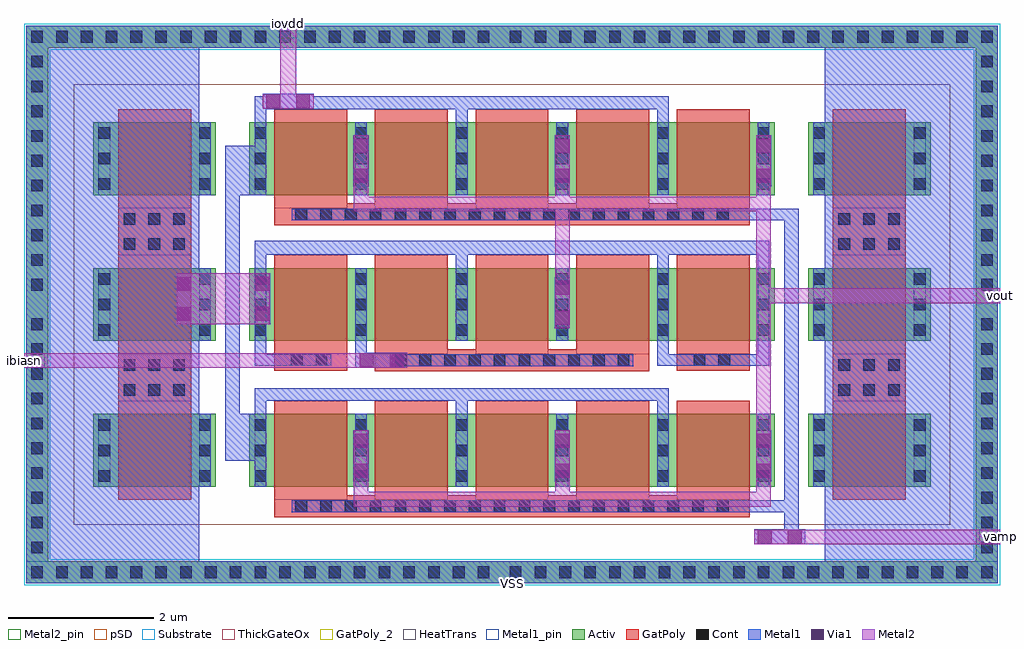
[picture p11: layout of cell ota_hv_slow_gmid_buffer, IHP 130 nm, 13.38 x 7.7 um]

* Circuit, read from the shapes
.subckt ota_hv_slow_gmid_buffer VSS ibiasn iovdd vamp vout
XM1 VSS VSS VSS VSS sg13_hv_nmos w=1u l=1u m=7
XM2 vout vamp iovdd VSS sg13_hv_nmos w=1u l=1u m=10
XM3 ibiasn VSS VSS VSS sg13_hv_nmos w=1u l=1u
XM4 VSS ibiasn ibiasn VSS sg13_hv_nmos w=1u l=1u
XM5 vout ibiasn VSS VSS sg13_hv_nmos w=1u l=1u m=2
.ends

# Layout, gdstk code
import gdstk
lib = gdstk.Library(unit=1e-6, precision=1e-09)
def R(c, l, rs):  # rectangles x0, y0, x1, y1
    for r in rs: c.add(gdstk.rectangle(r[:2], r[2:], *l))
def A(c, l, x, y, w, h, nx, ny, dx, dy):  # array of equal rectangles
    R(c, l, [(x+i*dx, y+j*dy, x+i*dx+w, y+j*dy+h) for i in range(nx) for j in range(ny)])
def P(c, l, *ps):  # polygons
    for p in ps: c.add(gdstk.Polygon(p, *l))
Activ = (1, 0)
GatPoly = (5, 0)
GatPoly_2 = (5, 2)
Cont = (6, 0)
Metal1 = (8, 0)
Metal1_pin = (8, 2)
Metal2 = (10, 0)
Metal2_pin = (10, 2)
pSD = (14, 0)
Via1 = (19, 0)
Substrate = (40, 0)
ThickGateOx = (44, 0)
HeatTrans = (51, 0)

nmoshv_5 = lib.new_cell('nmosHV$5')
A(nmoshv_5, Activ, 0, 0, 0.3, 0.3, 6, 1, 1.38, 0)
R(nmoshv_5, Activ, [(0,0,7.2,1)])
A(nmoshv_5, GatPoly, 0.34, -0.18, 1, 1.36, 5, 1, 1.38, 0)
R(nmoshv_5, GatPoly_2, [(0.34,-0.18,1.34,1.18)])
A(nmoshv_5, Cont, 0.07, 0.07, 0.16, 0.16, 6, 3, 1.38, 0.35)
A(nmoshv_5, Metal1, 0.07, 0, 0.16, 1, 6, 1, 1.38, 0)
R(nmoshv_5, Metal1_pin, [(0.07,0,0.23,1), (1.45,0,1.61,1)])
R(nmoshv_5, ThickGateOx, [(-0.27,-0.52,7.47,1.52)])
A(nmoshv_5, HeatTrans, 0.34, -0.18, 1, 1.36, 5, 1, 1.38, 0)
nmoshv_5.add(gdstk.Label('nmosHV', (0.84,0.5), layer=63, texttype=0))
nmoshv_5.add(gdstk.Label('nmosHV', (0.84,0.5), layer=51, texttype=0))
nmoshv_5.add(gdstk.Label('nmosHV', (2.22,0.5), layer=51, texttype=0))
nmoshv_5.add(gdstk.Label('nmosHV', (3.6,0.5), layer=51, texttype=0))
nmoshv_5.add(gdstk.Label('nmosHV', (4.98,0.5), layer=51, texttype=0))
nmoshv_5.add(gdstk.Label('nmosHV', (6.36,0.5), layer=51, texttype=0))

via_stack_19 = lib.new_cell('via_stack$19')
R(via_stack_19, GatPoly, [(-1.68,-0.15,1.68,0.15)])
A(via_stack_19, Cont, -1.61, -0.08, 0.16, 0.16, 10, 1, 0.34, 0)
R(via_stack_19, Metal1, [(-1.66,-0.08,1.66,0.08)])

via_stack_18 = lib.new_cell('via_stack$18')
R(via_stack_18, GatPoly, [(-3.04,-0.15,3.04,0.15)])
A(via_stack_18, Cont, -2.97, -0.08, 0.16, 0.16, 18, 1, 0.34, 0)
R(via_stack_18, Metal1, [(-3.02,-0.08,3.02,0.08)])

nmoshv_2 = lib.new_cell('nmosHV$2')
R(nmoshv_2, Activ, [(0,0,0.3,0.3), (0,0,1.68,1), (1.38,0,1.68,0.3)])
R(nmoshv_2, GatPoly, [(0.34,-0.18,1.34,1.18)])
R(nmoshv_2, GatPoly_2, [(0.34,-0.18,1.34,1.18)])
A(nmoshv_2, Cont, 0.07, 0.07, 0.16, 0.16, 1, 3, 0, 0.35)
A(nmoshv_2, Cont, 1.45, 0.07, 0.16, 0.16, 1, 3, 0, 0.35)
R(nmoshv_2, Metal1, [(0.07,0,0.23,1), (1.45,0,1.61,1)])
R(nmoshv_2, Metal1_pin, [(0.07,0,0.23,1), (1.45,0,1.61,1)])
R(nmoshv_2, ThickGateOx, [(-0.27,-0.52,1.95,1.52)])
R(nmoshv_2, HeatTrans, [(0.34,-0.18,1.34,1.18)])
nmoshv_2.add(gdstk.Label('nmosHV', (0.84,0.5), layer=63, texttype=0))
nmoshv_2.add(gdstk.Label('nmosHV', (0.84,0.5), layer=51, texttype=0))

guard_ring_4 = lib.new_cell('guard_ring$4')
R(guard_ring_4, Activ, [(-6.66,-3.52,-6.36,3.52), (6.36,-3.52,6.66,3.52), (-6.66,3.52,6.66,3.82)])
P(guard_ring_4, Activ, [(-6.66,-3.82),(-6.66,3.52),(-6.36,3.52),(-6.36,-3.52),(6.36,-3.52),(6.36,3.52),(-6.66,3.52),(-6.66,3.82),(6.66,3.82),(6.66,-3.82)])
A(guard_ring_4, Cont, -6.59, -3.75, 0.16, 0.16, 19, 2, 0.34, 7.34)
A(guard_ring_4, Cont, -0.03, -3.75, 0.16, 0.16, 20, 2, 0.34, 7.34)
A(guard_ring_4, Cont, -6.59, -3.41, 0.16, 0.16, 1, 10, 0, 0.34)
A(guard_ring_4, Cont, 6.43, -3.41, 0.16, 0.16, 1, 10, 0, 0.34)
A(guard_ring_4, Cont, -6.59, 0.19, 0.16, 0.16, 1, 10, 0, 0.34)
A(guard_ring_4, Cont, 6.43, 0.19, 0.16, 0.16, 1, 10, 0, 0.34)
R(guard_ring_4, Metal1, [(-6.66,-3.82,6.66,-3.52), (-6.66,-3.52,-6.36,3.52), (6.36,-3.52,6.66,3.52), (-6.66,3.52,6.66,3.82)])
R(guard_ring_4, pSD, [(-6.69,-3.49,-6.33,3.49), (6.33,-3.49,6.69,3.49), (-6.69,3.49,6.69,3.85)])
P(guard_ring_4, pSD, [(-6.69,-3.85),(-6.69,3.49),(-6.33,3.49),(-6.33,-3.49),(6.33,-3.49),(6.33,3.49),(-6.69,3.49),(-6.69,3.85),(6.69,3.85),(6.69,-3.85)])
R(guard_ring_4, Substrate, [(-6.69,-3.49,-6.33,3.49), (6.33,-3.49,6.69,3.49), (-6.69,3.49,6.69,3.85)])
P(guard_ring_4, Substrate, [(-6.69,-3.85),(-6.69,3.49),(-6.33,3.49),(-6.33,-3.49),(6.33,-3.49),(6.33,3.49),(-6.69,3.49),(-6.69,3.85),(6.69,3.85),(6.69,-3.85)])
guard_ring_4.add(gdstk.Label('sub!', (0,-3.67), layer=63, texttype=0))

via_stack_21 = lib.new_cell('via_stack$21')
R(via_stack_21, GatPoly, [(-0.49,-0.32,0.49,0.32)])
A(via_stack_21, Cont, -0.42, -0.25, 0.16, 0.16, 3, 2, 0.34, 0.34)
R(via_stack_21, Metal1, [(-0.47,-0.25,0.47,0.25)])

via_stack_20 = lib.new_cell('via_stack$20')
R(via_stack_20, GatPoly, [(-0.32,-0.15,0.32,0.15)])
R(via_stack_20, Cont, [(-0.25,-0.08,-0.09,0.08), (0.09,-0.08,0.25,0.08)])
R(via_stack_20, Metal1, [(-0.3,-0.08,0.3,0.08)])

via_stack_4 = lib.new_cell('via_stack$4')
R(via_stack_4, Metal1, [(-0.105,-0.35,0.105,0.35)])
R(via_stack_4, Metal2, [(-0.1,-0.35,0.1,0.35)])
R(via_stack_4, Via1, [(-0.095,-0.3,0.095,-0.11), (-0.095,0.11,0.095,0.3)])

via_stack_3 = lib.new_cell('via_stack$3')
R(via_stack_3, Metal1, [(-0.35,-0.105,0.35,0.105)])
R(via_stack_3, Metal2, [(-0.35,-0.1,0.35,0.1)])
R(via_stack_3, Via1, [(-0.3,-0.095,-0.11,0.095), (0.11,-0.095,0.3,0.095)])

ota_hv_slow_gmid_buffer = lib.new_cell('ota_hv_slow_gmid_buffer')
R(ota_hv_slow_gmid_buffer, GatPoly, [(-3.26,-2.915,3.26,-2.68), (-5.4,-1.32,-4.4,-0.68), (4.4,-1.32,5.4,-0.68), (-1.88,-0.915,1.88,-0.68), (-3.26,-0.91,-2.26,-0.68), (2.26,-0.91,3.26,-0.68), (-5.4,0.68,-4.4,1.32), (4.4,0.68,5.4,1.32), (-3.26,1.085,3.26,1.32)])
R(ota_hv_slow_gmid_buffer, Metal1, [(-6.66,-3.82,-4.29,3.82), (4.29,-3.82,6.66,3.82), (3.735,-3.265,3.93,1.315), (2.815,-2.845,3.93,-2.685), (-3.93,-2.14,-3.735,2.175), (-3.93,-2.14,-3.37,-1.5), (1.99,-1.795,2.15,-1.145), (-3.53,-1.71,-3.37,-1.145), (-0.77,-1.675,-0.61,-1.145), (-3.53,-1.32,2.15,-1.145), (-2.15,-0.845,-1.53,-0.685), (-2.15,-0.845,-1.99,-0.385), (-3.53,-0.84,-2.825,-0.68), (-3.53,-0.84,-3.37,-0.245), (1.99,-0.84,2.15,-0.3), (1.99,-0.84,3.53,-0.68), (3.37,-0.84,3.53,0.875), (-3.53,0.2,-3.37,0.875), (-0.77,0.245,-0.61,0.875), (1.99,0.255,2.15,0.875), (-3.53,0.68,3.53,0.875), (2.77,1.155,3.93,1.315), (-3.93,1.5,-3.37,2.175), (1.99,2.205,2.15,2.855), (-3.53,2.29,-3.37,2.855), (-0.77,2.325,-0.61,2.855), (-3.53,2.68,2.15,2.855)])
R(ota_hv_slow_gmid_buffer, Metal1_pin, [(-6.66,-3.82,6.66,-3.52)])
R(ota_hv_slow_gmid_buffer, Metal2, [(3.64,-3.285,6.69,-3.085), (-2.17,-2.77,-1.97,-2.405), (-2.17,-2.77,3.55,-2.565), (0.59,-2.77,0.79,-2.325), (3.35,-2.77,3.55,-2.29), (3.35,-1.855,3.55,1.97), (-6.69,-0.865,-1.98,-0.665), (-4.595,-0.27,-3.32,0.43), (3.35,0.015,6.69,0.225), (0.59,0.175,0.79,1.48), (-2.17,1.275,-1.97,1.64), (-2.17,1.275,3.55,1.48), (0.59,1.275,0.79,1.72), (3.35,1.275,3.55,1.755), (-3.18,2.69,-2.96,3.85)])
R(ota_hv_slow_gmid_buffer, Metal2_pin, [(6.405,-3.285,6.69,-3.085), (-6.69,-0.865,-6.405,-0.665), (6.365,0.015,6.69,0.225), (-3.18,3.65,-2.96,3.85)])
r = gdstk.Reference(nmoshv_5, (-3.6,-2.5)); r.repetition = gdstk.Repetition(1, 3, v1=(0,0), v2=(0,2)); ota_hv_slow_gmid_buffer.add(r)
ota_hv_slow_gmid_buffer.add(gdstk.Reference(via_stack_19, (0,-0.765)))
ota_hv_slow_gmid_buffer.add(gdstk.Reference(via_stack_18, (0,1.235)))
ota_hv_slow_gmid_buffer.add(gdstk.Reference(via_stack_18, (0,-2.765)))
r = gdstk.Reference(nmoshv_2, (-5.74,-2.5)); r.repetition = gdstk.Repetition(2, 3, v1=(9.8,0), v2=(0,2)); ota_hv_slow_gmid_buffer.add(r)
ota_hv_slow_gmid_buffer.add(gdstk.Reference(guard_ring_4, (0,0)))
ota_hv_slow_gmid_buffer.add(gdstk.Reference(via_stack_21, (-4.905,1)))
ota_hv_slow_gmid_buffer.add(gdstk.Reference(via_stack_21, (-4.905,-1)))
ota_hv_slow_gmid_buffer.add(gdstk.Reference(via_stack_21, (4.895,1)))
ota_hv_slow_gmid_buffer.add(gdstk.Reference(via_stack_21, (4.895,-1)))
ota_hv_slow_gmid_buffer.add(gdstk.Reference(via_stack_20, (-2.78,-0.76)))
ota_hv_slow_gmid_buffer.add(gdstk.Reference(via_stack_4, (-2.07,1.97)))
ota_hv_slow_gmid_buffer.add(gdstk.Reference(via_stack_4, (0.69,1.97)))
ota_hv_slow_gmid_buffer.add(gdstk.Reference(via_stack_4, (3.45,1.97)))
ota_hv_slow_gmid_buffer.add(gdstk.Reference(via_stack_4, (-2.07,-2.075)))
ota_hv_slow_gmid_buffer.add(gdstk.Reference(via_stack_4, (0.69,-2.075)))
ota_hv_slow_gmid_buffer.add(gdstk.Reference(via_stack_4, (3.45,-2.075)))
ota_hv_slow_gmid_buffer.add(gdstk.Reference(via_stack_20, (2.74,-0.76)))
ota_hv_slow_gmid_buffer.add(gdstk.Reference(via_stack_4, (0.69,0.025)))
ota_hv_slow_gmid_buffer.add(gdstk.Reference(via_stack_3, (3.67,-3.185)))
ota_hv_slow_gmid_buffer.add(gdstk.Reference(via_stack_3, (-3.07,2.785)))
ota_hv_slow_gmid_buffer.add(gdstk.Reference(via_stack_3, (-1.785,-0.765)))
ota_hv_slow_gmid_buffer.add(gdstk.Reference(via_stack_4, (-3.42,0.08)))
ota_hv_slow_gmid_buffer.add(gdstk.Reference(via_stack_4, (-4.495,0.08)))
ota_hv_slow_gmid_buffer.add(gdstk.Label('VSS', (0,-3.82), layer=8, texttype=2))
ota_hv_slow_gmid_buffer.add(gdstk.Label('vout', (6.69,0.12), layer=10, texttype=2))
ota_hv_slow_gmid_buffer.add(gdstk.Label('vamp', (6.69,-3.185), layer=10, texttype=2))
ota_hv_slow_gmid_buffer.add(gdstk.Label('iovdd', (-3.07,3.85), layer=10, texttype=2))
ota_hv_slow_gmid_buffer.add(gdstk.Label('ibiasn', (-6.69,-0.765), layer=10, texttype=2))

lib.write_gds('ota_hv_slow_gmid_buffer.gds')
